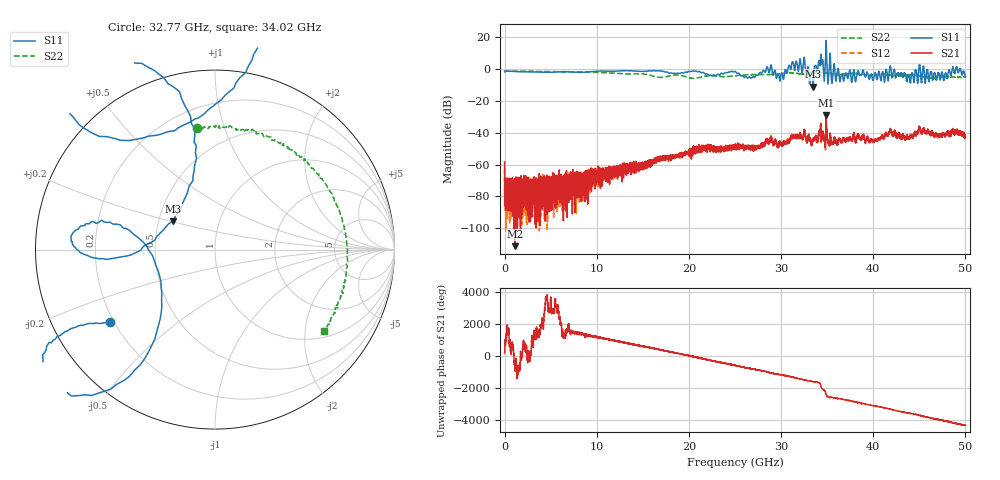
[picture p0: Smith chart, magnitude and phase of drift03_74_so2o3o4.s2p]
!Created with skrf (http://scikit-rf.org).
# Hz S RI R 50.0
!freq ReS11 ImS11 ReS21 ImS21 ReS12 ImS12 ReS22 ImS22
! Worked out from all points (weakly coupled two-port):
!   10001 points, 300 kHz to 50 GHz, reference 50 ohm
!   highest |S21| = -28.95 dB at 34.9 GHz (marker M1); lowest = -111.3 dB at 1.12 GHz (marker M2)
!   lowest |S11| = -11.0 dB at 33.47 GHz (marker M3), VSWR 1.78, Z = 29.9 + j10.3 ohm
!   |S11| at or under -10 dB: 33.44911 GHz to 33.48516 GHz (36.05 MHz wide, 0.108 % of centre)
!   |S22| runs from -5.9 to -1.3 dB; largest |S21 - S12| = 0.0087
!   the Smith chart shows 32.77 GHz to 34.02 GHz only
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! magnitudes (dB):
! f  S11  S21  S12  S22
! 300 kHz  -1.3  -58.4  -62.6  -2.0
! 260.3 MHz  -1.3  -74.8  -77.4  -1.4
! 1.12 GHz  -1.6  -111.3  -77.0  -1.5
! 8.335 GHz  -2.2  -69.6  -76.6  -1.9
! 16.67 GHz  -1.1  -55.7  -55.9  -5.2
! 25 GHz  -1.5  -49.3  -48.4  -4.3
! 26.92 GHz  -4.9  -49.8  -50.1  -3.5
! 28.72 GHz  -2.3  -44.7  -45.3  -3.6
! 30.06 GHz  -2.5  -48.0  -48.2  -2.8
! 31.87 GHz  -1.4  -42.3  -42.1  -2.9
! 33.34 GHz  -2.2  -47.9  -47.0  -2.9
! 33.47 GHz  -11.0  -44.0  -44.8  -2.8
! 34.3 GHz  7.3  -35.8  -35.4  -2.3
! 34.9 GHz  17.9  -28.9  -30.9  -2.4
! 36.58 GHz  -3.5  -45.6  -45.8  -3.6
! 40.19 GHz  -2.3  -44.1  -44.5  -3.7
! 41.67 GHz  -5.5  -40.5  -40.5  -3.7
! 43.84 GHz  -3.5  -43.5  -44.2  -3.9
! 45.17 GHz  -4.1  -39.6  -39.1  -4.5
! 47.83 GHz  -2.5  -40.9  -40.9  -4.8
! 48.84 GHz  -2.7  -38.8  -39.7  -5.1
! 50 GHz  -4.9  -42.8  -42.4  -5.0
